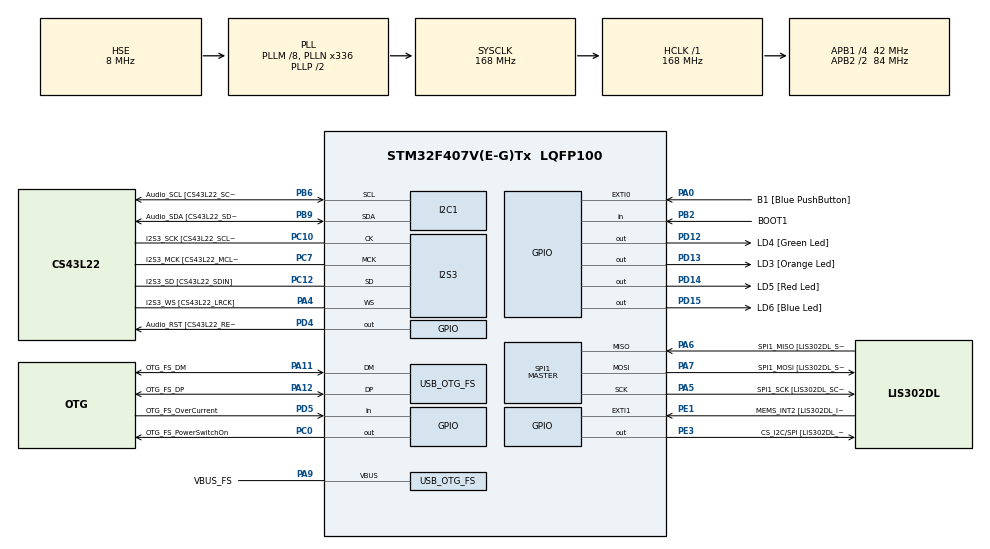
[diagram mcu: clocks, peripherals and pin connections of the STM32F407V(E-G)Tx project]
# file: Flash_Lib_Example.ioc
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I2S3.AudioFreq-Half_Duplex_Master=I2S_AUDIOFREQ_96K
I2S3.ErrorAudioFreq=-2.34 %
I2S3.ErrorAudioFreq-Half_Duplex_Master=0.8 %
I2S3.FullDuplexMode=I2S_FULLDUPLEXMODE_DISABLE
I2S3.Instance=SPI$Index
I2S3.RealAudioFreq=93.75 KHz
I2S3.RealAudioFreq-Half_Duplex_Master=96.774 KHz
I2S3.VirtualMode=I2S_MODE_MASTER
Mcu.Family=STM32F4
Mcu.Name=STM32F407V(E-G)Tx
Mcu.Package=LQFP100
NVIC.OTG_FS_IRQn=true\:0\:0\:false\:false\:true\:true\:true\:true
NVIC.PriorityGroup=NVIC_PRIORITYGROUP_0
PA0-WKUP.GPIO_Label=B1 [Blue PushButton]
PA0-WKUP.GPIO_ModeDefaultEXTI=GPIO_MODE_EVT_RISING
PA0-WKUP.GPIO_PuPd=GPIO_NOPULL
PA0-WKUP.Signal=GPXTI0
PA10.GPIO_Label=OTG_FS_ID
PA10.GPIO_Mode=GPIO_MODE_AF_PP
PA10.GPIO_PuPd=GPIO_NOPULL
PA10.GPIO_Speed=GPIO_SPEED_FREQ_LOW
PA10.Signal=USB_OTG_FS_ID
PA11.GPIO_Label=OTG_FS_DM
PA11.GPIO_Mode=GPIO_MODE_AF_PP
PA11.GPIO_PuPd=GPIO_NOPULL
PA11.GPIO_Speed=GPIO_SPEED_FREQ_LOW
PA11.Mode=Host_Only
PA11.Signal=USB_OTG_FS_DM
PA12.GPIO_Label=OTG_FS_DP
PA12.GPIO_Mode=GPIO_MODE_AF_PP
PA12.GPIO_PuPd=GPIO_NOPULL
PA12.GPIO_Speed=GPIO_SPEED_FREQ_LOW
PA12.Mode=Host_Only
PA12.Signal=USB_OTG_FS_DP
PA13.GPIO_Label=SWDIO
PA13.Mode=Serial_Wire
PA13.Signal=SYS_JTMS-SWDIO
PA14.GPIO_Label=SWCLK
PA14.Mode=Serial_Wire
PA14.Signal=SYS_JTCK-SWCLK
PA4.GPIO_Label=I2S3_WS [CS43L22_LRCK]
PA4.GPIO_Mode=GPIO_MODE_AF_PP
PA4.GPIO_PuPd=GPIO_NOPULL
PA4.GPIO_Speed=GPIO_SPEED_FREQ_LOW
PA4.Mode=Half_Duplex_Master
PA4.Signal=I2S3_WS
PA5.GPIO_Label=SPI1_SCK [LIS302DL_SCL/SPC]
PA5.GPIO_Mode=GPIO_MODE_AF_PP
PA5.GPIO_PuPd=GPIO_NOPULL
PA5.GPIO_Speed=GPIO_SPEED_FREQ_LOW
PA5.Mode=Full_Duplex_Master
PA5.Signal=SPI1_SCK
PA6.GPIO_Label=SPI1_MISO [LIS302DL_SDO]
PA6.GPIO_Mode=GPIO_MODE_AF_PP
PA6.GPIO_PuPd=GPIO_NOPULL
PA6.GPIO_Speed=GPIO_SPEED_FREQ_LOW
PA6.Mode=Full_Duplex_Master
PA6.Signal=SPI1_MISO
PA7.GPIO_Label=SPI1_MOSI [LIS302DL_SDA/SDI/SDO]
PA7.GPIO_Mode=GPIO_MODE_AF_PP
PA7.GPIO_PuPd=GPIO_NOPULL
PA7.GPIO_Speed=GPIO_SPEED_FREQ_LOW
PA7.Mode=Full_Duplex_Master
PA7.Signal=SPI1_MOSI
PA9.GPIO_Label=VBUS_FS
PA9.GPIO_Mode=GPIO_MODE_INPUT
PA9.GPIO_PuPd=GPIO_NOPULL
PA9.Mode=Activate_VBUS
PA9.Signal=USB_OTG_FS_VBUS
PB10.GPIO_Label=CLK_IN [MP45DT02_CLK]
PB10.GPIO_Mode=GPIO_MODE_AF_PP
PB10.GPIO_PuPd=GPIO_NOPULL
PB10.GPIO_Speed=GPIO_SPEED_FREQ_LOW
PB10.Signal=I2S2_CK
PB2.GPIO_Label=BOOT1
PB2.GPIO_Mode=GPIO_MODE_INPUT
PB2.GPIO_PuPd=GPIO_NOPULL
PB2.Signal=GPIO_Input
PB3.GPIO_Label=SWO
PB3.Signal=SYS_JTDO-SWO
PB6.GPIO_Label=Audio_SCL [CS43L22_SCL]
PB6.GPIO_Mode=GPIO_MODE_AF_OD
PB6.GPIO_Pu=GPIO_PULLUP
PB6.GPIO_PuPd=GPIO_NOPULL
PB6.GPIO_Speed=GPIO_SPEED_FREQ_LOW
PB6.Mode=I2C
PB6.Signal=I2C1_SCL
PB9.GPIO_Label=Audio_SDA [CS43L22_SDA]
PB9.GPIO_Mode=GPIO_MODE_AF_OD
PB9.GPIO_Pu=GPIO_PULLUP
PB9.GPIO_PuPd=GPIO_NOPULL
PB9.GPIO_Speed=GPIO_SPEED_FREQ_LOW
PB9.Mode=I2C
PB9.Signal=I2C1_SDA
PC0.GPIO_Label=OTG_FS_PowerSwitchOn
PC0.GPIO_PuPd=GPIO_NOPULL
PC0.GPIO_Speed=GPIO_SPEED_FREQ_LOW
PC0.PinState=GPIO_PIN_SET
PC0.Signal=GPIO_Output
PC10.GPIO_Label=I2S3_SCK [CS43L22_SCLK]
PC10.GPIO_Mode=GPIO_MODE_AF_PP
PC10.GPIO_PuPd=GPIO_NOPULL
PC10.GPIO_Speed=GPIO_SPEED_FREQ_LOW
PC10.Mode=Half_Duplex_Master
PC10.Signal=I2S3_CK
PC12.GPIO_Label=I2S3_SD [CS43L22_SDIN]
PC12.GPIO_Mode=GPIO_MODE_AF_PP
PC12.GPIO_PuPd=GPIO_NOPULL
PC12.GPIO_Speed=GPIO_SPEED_FREQ_LOW
PC12.Mode=Half_Duplex_Master
PC12.Signal=I2S3_SD
PC14-OSC32_IN.GPIO_Label=PC14-OSC32_IN
PC14-OSC32_IN.Mode=LSE-External-Oscillator
PC14-OSC32_IN.Signal=RCC_OSC32_IN
PC15-OSC32_OUT.GPIO_Label=PC15-OSC32_OUT
PC15-OSC32_OUT.Mode=LSE-External-Oscillator
PC15-OSC32_OUT.Signal=RCC_OSC32_OUT
PC3.GPIO_Label=PDM_OUT [MP45DT02_DOUT]
PC3.GPIO_Mode=GPIO_MODE_AF_PP
PC3.GPIO_PuPd=GPIO_NOPULL
PC3.GPIO_Speed=GPIO_SPEED_FREQ_LOW
PC3.Signal=I2S2_SD
PC7.GPIO_Label=I2S3_MCK [CS43L22_MCLK]
PC7.GPIO_Mode=GPIO_MODE_AF_PP
PC7.GPIO_PuPd=GPIO_NOPULL
PC7.GPIO_Speed=GPIO_SPEED_FREQ_LOW
PC7.Mode=Master_Clock_Activated
PC7.Signal=I2S3_MCK
PD12.GPIO_Label=LD4 [Green Led]
PD12.GPIO_PuPd=GPIO_NOPULL
PD12.GPIO_Speed=GPIO_SPEED_FREQ_LOW
PD12.Signal=GPIO_Output
PD13.GPIO_Label=LD3 [Orange Led]
PD13.GPIO_PuPd=GPIO_NOPULL
PD13.GPIO_Speed=GPIO_SPEED_FREQ_LOW
PD13.Signal=GPIO_Output
PD14.GPIO_Label=LD5 [Red Led]
PD14.GPIO_PuPd=GPIO_NOPULL
PD14.GPIO_Speed=GPIO_SPEED_FREQ_LOW
PD14.Signal=GPIO_Output
PD15.GPIO_Label=LD6 [Blue Led]
PD15.GPIO_PuPd=GPIO_NOPULL
PD15.GPIO_Speed=GPIO_SPEED_FREQ_LOW
PD15.Signal=GPIO_Output
PD4.GPIO_Label=Audio_RST [CS43L22_RESET]
PD4.GPIO_PuPd=GPIO_NOPULL
PD4.GPIO_Speed=GPIO_SPEED_FREQ_LOW
PD4.Signal=GPIO_Output
PD5.GPIO_Label=OTG_FS_OverCurrent
PD5.GPIO_Mode=GPIO_MODE_INPUT
PD5.GPIO_PuPd=GPIO_NOPULL
PD5.Signal=GPIO_Input
PE1.GPIO_Label=MEMS_INT2 [LIS302DL_INT2]
PE1.GPIO_ModeDefaultEXTI=GPIO_MODE_EVT_RISING
PE1.GPIO_PuPd=GPIO_NOPULL
PE1.Signal=GPXTI1
PE3.GPIO_Label=CS_I2C/SPI [LIS302DL_CS_I2C/SPI]
PE3.GPIO_PuPd=GPIO_NOPULL
PE3.GPIO_Speed=GPIO_SPEED_FREQ_LOW
PE3.Signal=GPIO_Output
PH0-OSC_IN.GPIO_Label=PH0-OSC_IN
PH0-OSC_IN.Mode=HSE-External-Oscillator
PH0-OSC_IN.Signal=RCC_OSC_IN
PH1-OSC_OUT.GPIO_Label=PH1-OSC_OUT
PH1-OSC_OUT.Mode=HSE-External-Oscillator
PH1-OSC_OUT.Signal=RCC_OSC_OUT
ProjectManager.HeapSize=0x200
ProjectManager.StackSize=0x400
ProjectManager.TargetToolchain=STM32CubeIDE
RCC.48MHZClocksFreq_Value=48000000
RCC.AHBFreq_Value=168000000
RCC.APB1CLKDivider=RCC_HCLK_DIV4
RCC.APB1Freq_Value=42000000
RCC.APB1TimFreq_Value=84000000
RCC.APB2CLKDivider=RCC_HCLK_DIV2
RCC.APB2Freq_Value=84000000
RCC.APB2TimFreq_Value=168000000
RCC.CortexFreq_Value=168000000
RCC.HCLKFreq_Value=168000000
RCC.HSE_VALUE=8000000
RCC.HSI_VALUE=16000000
RCC.PLLM=8
RCC.PLLN=336
RCC.PLLQ=7
RCC.SYSCLKFreq_VALUE=168000000
RCC.SYSCLKSource=RCC_SYSCLKSOURCE_PLLCLK
RCC.VCOOutputFreq_Value=336000000
SPI1.BaudRatePrescaler-Full_Duplex_Master=SPI_BAUDRATEPRESCALER_2
SPI1.CalculateBaudRate-Full_Duplex_Master=42.0 MBits/s
SPI1.Direction=SPI_DIRECTION_2LINES
SPI1.Mode=SPI_MODE_MASTER
SPI1.Mode-Full_Duplex_Master=SPI_MODE_MASTER
SPI1.VirtualType=VM_MASTER
USB_HOST.BSP.number=1
USB_HOST.USBH_HandleTypeDef-CDC_FS=hUsbHostFS
USB_HOST.VirtualModeFS=Cdc
USB_HOST0.BSP.STBoard=false
USB_HOST0.BSP.api=Unknown
USB_HOST0.BSP.instance=PC0
USB_HOST0.BSP.ip=GPIO
USB_HOST0.BSP.mode=Output
USB_HOST0.BSP.name=Drive_VBUS_FS
USB_HOST0.BSP.solution=PC0
USB_OTG_FS.VirtualMode=Host_Only
USB_OTG_FS.phy_itface=HCD_PHY_EMBEDDED
VP_USB_HOST_VS_USB_HOST_CDC_FS.Mode=CDC_FS
board=STM32F407G-DISC1

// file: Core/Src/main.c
/* USER CODE BEGIN Header */
/**
  ******************************************************************************
  * @file           : main.c
  * @brief          : Main program body
  ******************************************************************************
  * @attention
  *
  * Copyright (c) 2024 STMicroelectronics.
  * All rights reserved.
  *
  * This software is licensed under terms that can be found in the LICENSE file
  * in the root directory of this software component.
  * If no LICENSE file comes with this software, it is provided AS-IS.
  *
  ******************************************************************************
  */
/* USER CODE END Header */
#include "main.h"
#include "usb_host.h"

/* USER CODE BEGIN Includes */
#include "Flash_Process.h"
/* USER CODE END Includes */

I2C_HandleTypeDef hi2c1;

I2S_HandleTypeDef hi2s3;

SPI_HandleTypeDef hspi1;

/* USER CODE BEGIN PV */

uint32_t read_data;
int test=0;

/* USER CODE END PV */

void SystemClock_Config(void);
static void MX_GPIO_Init(void);
static void MX_I2C1_Init(void);
static void MX_I2S3_Init(void);
static void MX_SPI1_Init(void);
void MX_USB_HOST_Process(void);

int main(void)
{

  /* MCU Configuration--------------------------------------------------------*/

  /* Reset of all peripherals, Initializes the Flash interface and the Systick. */
  HAL_Init();

  /* Configure the system clock */
  SystemClock_Config();

  /* Initialize all configured peripherals */
  MX_GPIO_Init();
  MX_I2C1_Init();
  MX_I2S3_Init();
  MX_SPI1_Init();
  MX_USB_HOST_Init();
  /* USER CODE BEGIN 2 */

  read_data = Flash_RD(0x080E0000);

  if (read_data<=10){
	  read_data +=1;
//	  Flash_Erase(0x0080E0000, 4);
	  test=1;
	  Flash_WR(0x080E0000, read_data);
  }
  else {
	  Flash_WR(0x080E0000, 0x00);
  }
  /* USER CODE END 2 */

  /* Infinite loop */
  while (1)
  {
    MX_USB_HOST_Process();

    /* USER CODE BEGIN 3 */

    if(read_data < 5){
    	HAL_GPIO_WritePin(LD3_GPIO_Port, LD3_Pin, GPIO_PIN_SET);
    	HAL_GPIO_WritePin(LD4_GPIO_Port, LD4_Pin, GPIO_PIN_SET);
    	HAL_GPIO_WritePin(LD5_GPIO_Port, LD5_Pin, GPIO_PIN_SET);
    	HAL_GPIO_WritePin(LD6_GPIO_Port, LD6_Pin, GPIO_PIN_SET);
    	HAL_Delay(read_data*50);
    	HAL_GPIO_WritePin(LD3_GPIO_Port, LD3_Pin, GPIO_PIN_RESET);
    	HAL_GPIO_WritePin(LD4_GPIO_Port, LD4_Pin, GPIO_PIN_RESET);
    	HAL_GPIO_WritePin(LD5_GPIO_Port, LD5_Pin, GPIO_PIN_RESET);
    	HAL_GPIO_WritePin(LD6_GPIO_Port, LD6_Pin, GPIO_PIN_RESET);
    	HAL_Delay(read_data*50);
    }
    else{
    	HAL_GPIO_WritePin(LD3_GPIO_Port, LD3_Pin, GPIO_PIN_RESET);
    	HAL_GPIO_WritePin(LD4_GPIO_Port, LD4_Pin, GPIO_PIN_RESET);
    	HAL_GPIO_WritePin(LD5_GPIO_Port, LD5_Pin, GPIO_PIN_RESET);
    	HAL_GPIO_WritePin(LD6_GPIO_Port, LD6_Pin, GPIO_PIN_RESET);
    }

  }
  /* USER CODE END 3 */
}

void SystemClock_Config(void)
{
  RCC_OscInitTypeDef RCC_OscInitStruct = {0};
  RCC_ClkInitTypeDef RCC_ClkInitStruct = {0};

  /** Configure the main internal regulator output voltage
  */
  __HAL_RCC_PWR_CLK_ENABLE();
  __HAL_PWR_VOLTAGESCALING_CONFIG(PWR_REGULATOR_VOLTAGE_SCALE1);

  /** Initializes the RCC Oscillators according to the specified parameters
  * in the RCC_OscInitTypeDef structure.
  */
  RCC_OscInitStruct.OscillatorType = RCC_OSCILLATORTYPE_HSE;
  RCC_OscInitStruct.HSEState = RCC_HSE_ON;
  RCC_OscInitStruct.PLL.PLLState = RCC_PLL_ON;
  RCC_OscInitStruct.PLL.PLLSource = RCC_PLLSOURCE_HSE;
  RCC_OscInitStruct.PLL.PLLM = 8;
  RCC_OscInitStruct.PLL.PLLN = 336;
  RCC_OscInitStruct.PLL.PLLP = RCC_PLLP_DIV2;
  RCC_OscInitStruct.PLL.PLLQ = 7;
  if (HAL_RCC_OscConfig(&RCC_OscInitStruct) != HAL_OK)
  {
    Error_Handler();
  }

  /** Initializes the CPU, AHB and APB buses clocks
  */
  RCC_ClkInitStruct.ClockType = RCC_CLOCKTYPE_HCLK|RCC_CLOCKTYPE_SYSCLK
                              |RCC_CLOCKTYPE_PCLK1|RCC_CLOCKTYPE_PCLK2;
  RCC_ClkInitStruct.SYSCLKSource = RCC_SYSCLKSOURCE_PLLCLK;
  RCC_ClkInitStruct.AHBCLKDivider = RCC_SYSCLK_DIV1;
  RCC_ClkInitStruct.APB1CLKDivider = RCC_HCLK_DIV4;
  RCC_ClkInitStruct.APB2CLKDivider = RCC_HCLK_DIV2;

  if (HAL_RCC_ClockConfig(&RCC_ClkInitStruct, FLASH_LATENCY_5) != HAL_OK)
  {
    Error_Handler();
  }
}

static void MX_I2C1_Init(void)
{

  hi2c1.Instance = I2C1;
  hi2c1.Init.ClockSpeed = 100000;
  hi2c1.Init.DutyCycle = I2C_DUTYCYCLE_2;
  hi2c1.Init.OwnAddress1 = 0;
  hi2c1.Init.AddressingMode = I2C_ADDRESSINGMODE_7BIT;
  hi2c1.Init.DualAddressMode = I2C_DUALADDRESS_DISABLE;
  hi2c1.Init.OwnAddress2 = 0;
  hi2c1.Init.GeneralCallMode = I2C_GENERALCALL_DISABLE;
  hi2c1.Init.NoStretchMode = I2C_NOSTRETCH_DISABLE;
  if (HAL_I2C_Init(&hi2c1) != HAL_OK)
  {
    Error_Handler();
  }

}

static void MX_I2S3_Init(void)
{

  hi2s3.Instance = SPI3;
  hi2s3.Init.Mode = I2S_MODE_MASTER_TX;
  hi2s3.Init.Standard = I2S_STANDARD_PHILIPS;
  hi2s3.Init.DataFormat = I2S_DATAFORMAT_16B;
  hi2s3.Init.MCLKOutput = I2S_MCLKOUTPUT_ENABLE;
  hi2s3.Init.AudioFreq = I2S_AUDIOFREQ_96K;
  hi2s3.Init.CPOL = I2S_CPOL_LOW;
  hi2s3.Init.ClockSource = I2S_CLOCK_PLL;
  hi2s3.Init.FullDuplexMode = I2S_FULLDUPLEXMODE_DISABLE;
  if (HAL_I2S_Init(&hi2s3) != HAL_OK)
  {
    Error_Handler();
  }

}

static void MX_SPI1_Init(void)
{

  /* SPI1 parameter configuration*/
  hspi1.Instance = SPI1;
  hspi1.Init.Mode = SPI_MODE_MASTER;
  hspi1.Init.Direction = SPI_DIRECTION_2LINES;
  hspi1.Init.DataSize = SPI_DATASIZE_8BIT;
  hspi1.Init.CLKPolarity = SPI_POLARITY_LOW;
  hspi1.Init.CLKPhase = SPI_PHASE_1EDGE;
  hspi1.Init.NSS = SPI_NSS_SOFT;
  hspi1.Init.BaudRatePrescaler = SPI_BAUDRATEPRESCALER_2;
  hspi1.Init.FirstBit = SPI_FIRSTBIT_MSB;
  hspi1.Init.TIMode = SPI_TIMODE_DISABLE;
  hspi1.Init.CRCCalculation = SPI_CRCCALCULATION_DISABLE;
  hspi1.Init.CRCPolynomial = 10;
  if (HAL_SPI_Init(&hspi1) != HAL_OK)
  {
    Error_Handler();
  }

}

static void MX_GPIO_Init(void)
{
  GPIO_InitTypeDef GPIO_InitStruct = {0};

  /* GPIO Ports Clock Enable */
  __HAL_RCC_GPIOE_CLK_ENABLE();
  __HAL_RCC_GPIOC_CLK_ENABLE();
  __HAL_RCC_GPIOH_CLK_ENABLE();
  __HAL_RCC_GPIOA_CLK_ENABLE();
  __HAL_RCC_GPIOB_CLK_ENABLE();
  __HAL_RCC_GPIOD_CLK_ENABLE();

  /*Configure GPIO pin Output Level */
  HAL_GPIO_WritePin(CS_I2C_SPI_GPIO_Port, CS_I2C_SPI_Pin, GPIO_PIN_RESET);

  /*Configure GPIO pin Output Level */
  HAL_GPIO_WritePin(OTG_FS_PowerSwitchOn_GPIO_Port, OTG_FS_PowerSwitchOn_Pin, GPIO_PIN_SET);

  /*Configure GPIO pin Output Level */
  HAL_GPIO_WritePin(GPIOD, LD4_Pin|LD3_Pin|LD5_Pin|LD6_Pin
                          |Audio_RST_Pin, GPIO_PIN_RESET);

  /*Configure GPIO pin : CS_I2C_SPI_Pin */
  GPIO_InitStruct.Pin = CS_I2C_SPI_Pin;
  GPIO_InitStruct.Mode = GPIO_MODE_OUTPUT_PP;
  GPIO_InitStruct.Pull = GPIO_NOPULL;
  GPIO_InitStruct.Speed = GPIO_SPEED_FREQ_LOW;
  HAL_GPIO_Init(CS_I2C_SPI_GPIO_Port, &GPIO_InitStruct);

  /*Configure GPIO pin : OTG_FS_PowerSwitchOn_Pin */
  GPIO_InitStruct.Pin = OTG_FS_PowerSwitchOn_Pin;
  GPIO_InitStruct.Mode = GPIO_MODE_OUTPUT_PP;
  GPIO_InitStruct.Pull = GPIO_NOPULL;
  GPIO_InitStruct.Speed = GPIO_SPEED_FREQ_LOW;
  HAL_GPIO_Init(OTG_FS_PowerSwitchOn_GPIO_Port, &GPIO_InitStruct);

  /*Configure GPIO pin : PDM_OUT_Pin */
  GPIO_InitStruct.Pin = PDM_OUT_Pin;
  GPIO_InitStruct.Mode = GPIO_MODE_AF_PP;
  GPIO_InitStruct.Pull = GPIO_NOPULL;
  GPIO_InitStruct.Speed = GPIO_SPEED_FREQ_LOW;
  GPIO_InitStruct.Alternate = GPIO_AF5_SPI2;
  HAL_GPIO_Init(PDM_OUT_GPIO_Port, &GPIO_InitStruct);

  /*Configure GPIO pin : B1_Pin */
  GPIO_InitStruct.Pin = B1_Pin;
  GPIO_InitStruct.Mode = GPIO_MODE_EVT_RISING;
  GPIO_InitStruct.Pull = GPIO_NOPULL;
  HAL_GPIO_Init(B1_GPIO_Port, &GPIO_InitStruct);

  /*Configure GPIO pin : BOOT1_Pin */
  GPIO_InitStruct.Pin = BOOT1_Pin;
  GPIO_InitStruct.Mode = GPIO_MODE_INPUT;
  GPIO_InitStruct.Pull = GPIO_NOPULL;
  HAL_GPIO_Init(BOOT1_GPIO_Port, &GPIO_InitStruct);

  /*Configure GPIO pin : CLK_IN_Pin */
  GPIO_InitStruct.Pin = CLK_IN_Pin;
  GPIO_InitStruct.Mode = GPIO_MODE_AF_PP;
  GPIO_InitStruct.Pull = GPIO_NOPULL;
  GPIO_InitStruct.Speed = GPIO_SPEED_FREQ_LOW;
  GPIO_InitStruct.Alternate = GPIO_AF5_SPI2;
  HAL_GPIO_Init(CLK_IN_GPIO_Port, &GPIO_InitStruct);

  /*Configure GPIO pins : LD4_Pin LD3_Pin LD5_Pin LD6_Pin
                           Audio_RST_Pin */
  GPIO_InitStruct.Pin = LD4_Pin|LD3_Pin|LD5_Pin|LD6_Pin
                          |Audio_RST_Pin;
  GPIO_InitStruct.Mode = GPIO_MODE_OUTPUT_PP;
  GPIO_InitStruct.Pull = GPIO_NOPULL;
  GPIO_InitStruct.Speed = GPIO_SPEED_FREQ_LOW;
  HAL_GPIO_Init(GPIOD, &GPIO_InitStruct);

  /*Configure GPIO pin : OTG_FS_OverCurrent_Pin */
  GPIO_InitStruct.Pin = OTG_FS_OverCurrent_Pin;
  GPIO_InitStruct.Mode = GPIO_MODE_INPUT;
  GPIO_InitStruct.Pull = GPIO_NOPULL;
  HAL_GPIO_Init(OTG_FS_OverCurrent_GPIO_Port, &GPIO_InitStruct);

  /*Configure GPIO pin : MEMS_INT2_Pin */
  GPIO_InitStruct.Pin = MEMS_INT2_Pin;
  GPIO_InitStruct.Mode = GPIO_MODE_EVT_RISING;
  GPIO_InitStruct.Pull = GPIO_NOPULL;
  HAL_GPIO_Init(MEMS_INT2_GPIO_Port, &GPIO_InitStruct);

}

void Error_Handler(void)
{
  __disable_irq();
  while (1)
  {
  }
}
